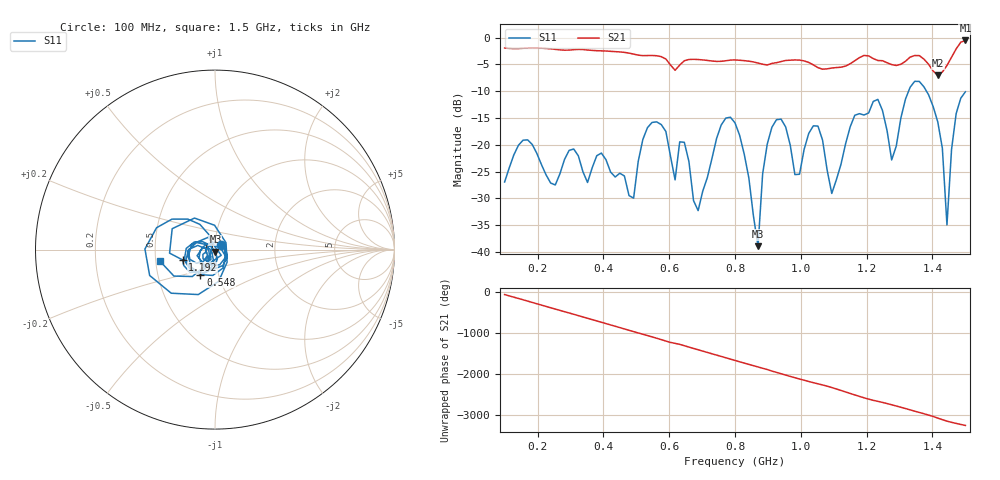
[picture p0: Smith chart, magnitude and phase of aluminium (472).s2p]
! NanoVNA-App
! Date: 2025-09-25 14:58:57
! Start: 100MHz Stop: 1,5GHz Points: 101
! S-Parameter data: F S11 S21 S12 S22
# Hz S RI R 50
!  Frequency  S11_Real  S11_Imag  S21_Real  S21_Imag  S12_Real  S12_Imag  S22_Real  S22_Imag
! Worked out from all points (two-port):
!   101 points, 100 MHz to 1.5 GHz, reference 50 ohm
!   highest |S21| = -0.51 dB at 1.5 GHz (marker M1); lowest = -7.0 dB at 1.416 GHz (marker M2)
!   |S21| within 3 dB of the highest: start of sweep to 573.8 MHz; 1.459 GHz to end of sweep (the widest 2 of 4)
!   lowest |S11| = -39.0 dB at 870 MHz (marker M3), VSWR 1.02, Z = 50.3 - j1.1 ohm
!   |S11| at or under -10 dB: start of sweep to 1.327 GHz; 1.382 GHz to end of sweep
!   S12 and S22 are empty: the file has one direction only
!   S11 on the Smith chart (normalised r, x): 100 MHz: 1.07, +0.06; 548 MHz: 0.82, -0.23; 1.192 GHz: 0.69, -0.08; 1.5 GHz: 0.53, -0.08
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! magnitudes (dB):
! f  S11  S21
! 100 MHz  -27.0  -1.9
! 156 MHz  -19.1  -2.0
! 338 MHz  -25.0  -2.2
! 492 MHz  -30.0  -3.1
! 548 MHz  -15.8  -3.3
! 576 MHz  -16.2  -3.5
! 646 MHz  -19.5  -4.3
! 688 MHz  -32.3  -4.1
! 800 MHz  -15.9  -4.1
! 870 MHz  -39.0  -4.7
! 912 MHz  -16.7  -4.8
! 982 MHz  -25.6  -4.1
! 1.038 GHz  -16.5  -5.1
! 1.094 GHz  -29.1  -5.7
! 1.192 GHz  -14.4  -3.3
! 1.234 GHz  -11.5  -4.3
! 1.276 GHz  -22.8  -5.0
! 1.346 GHz  -8.1  -3.3
! 1.416 GHz  -15.7  -7.0
! 1.444 GHz  -35.0  -5.2
! 1.472 GHz  -14.2  -2.1
! 1.5 GHz  -10.1  -0.5
